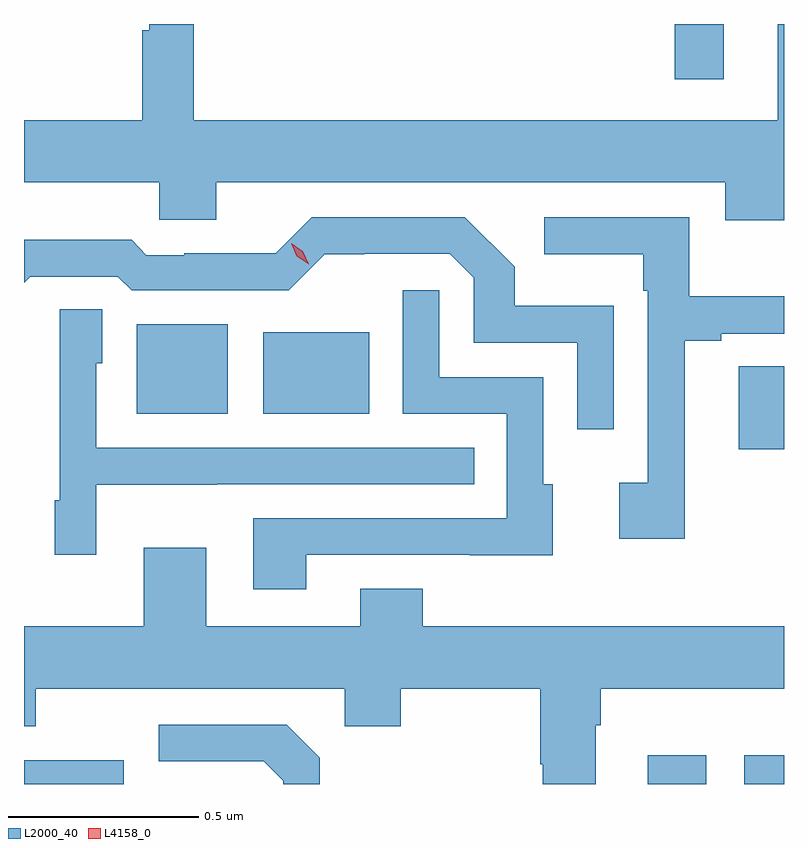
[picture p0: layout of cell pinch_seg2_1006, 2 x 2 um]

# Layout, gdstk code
import gdstk
lib = gdstk.Library(unit=1e-6, precision=1e-09)
def R(c, l, rs):  # rectangles x0, y0, x1, y1
    for r in rs: c.add(gdstk.rectangle(r[:2], r[2:], *l))
def P(c, l, *ps):  # polygons
    for p in ps: c.add(gdstk.Polygon(p, *l))
L2000_40 = (2000, 40)
L4158_0 = (4158, 0)

pinch_seg2_1006 = lib.new_cell('pinch_seg2_1006')
R(pinch_seg2_1006, L2000_40, [(169.682,651.381,169.944,651.444), (171.323,651.381,171.478,651.457), (171.578,651.381,171.682,651.457), (171.563,652.262,171.682,652.481), (169.979,652.355,170.218,652.591), (170.312,652.355,170.59,652.57), (171.395,653.235,171.523,653.381)])
P(pinch_seg2_1006, L2000_40, [(170.038,652.866),(170.188,652.866),(170.188,652.964),(171.527,652.964),(171.527,652.865),(171.682,652.865),(171.682,653.381),(171.665,653.381),(171.665,653.128),(170.129,653.128),(170.129,653.381),(170.012,653.381),(170.012,653.364),(169.993,653.364),(169.993,653.128),(169.682,653.128),(169.682,652.964),(170.038,652.964)],
  [(171.421,652.548),(171.517,652.548),(171.517,652.566),(171.682,652.566),(171.682,652.664),(171.433,652.664),(171.433,652.872),(171.051,652.872),(171.051,652.775),(171.312,652.775),(171.312,652.679),(171.324,652.679),(171.324,652.174),(171.249,652.174),(171.249,652.026),(171.421,652.026)],
  [(171.234,652.639),(170.973,652.639),(170.973,652.742),(170.842,652.872),(170.439,652.872),(170.345,652.778),(170.104,652.778),(170.104,652.773),(170.004,652.773),(169.965,652.813),(169.682,652.813),(169.682,652.7),(169.698,652.716),(169.929,652.716),(169.965,652.68),(170.379,652.68),(170.474,652.775),(170.578,652.775),(170.578,652.776),(170.802,652.776),(170.865,652.713),(170.865,652.542),(171.138,652.542),(171.138,652.314),(171.234,652.314)],
  [(170.425,651.984),(170.855,651.984),(170.855,651.983),(171.073,651.983),(171.073,652.17),(171.048,652.17),(171.048,652.452),(170.775,652.452),(170.775,652.681),(170.679,652.681),(170.679,652.356),(170.952,652.356),(170.952,652.08),(170.285,652.08),(170.285,651.894),(170.425,651.894)],
  [(169.872,652.169),(170.189,652.169),(170.189,652.17),(170.867,652.17),(170.867,652.266),(169.872,652.266),(169.872,652.488),(169.888,652.488),(169.888,652.631),(169.776,652.631),(169.776,652.128),(169.763,652.128),(169.763,651.984),(169.872,651.984)],
  [(169.682,651.533),(169.713,651.533),(169.713,651.632),(170.526,651.632),(170.526,651.533),(170.673,651.533),(170.673,651.632),(171.04,651.632),(171.04,651.433),(171.047,651.433),(171.047,651.381),(171.187,651.381),(171.187,651.536),(171.2,651.536),(171.2,651.632),(171.682,651.632),(171.682,651.796),(170.731,651.796),(170.731,651.895),(170.567,651.895),(170.567,651.796),(170.161,651.796),(170.161,652.003),(169.997,652.003),(169.997,651.796),(169.682,651.796)],
  [(170.46,651.45),(170.373,651.537),(170.037,651.537),(170.037,651.441),(170.313,651.441),(170.364,651.39),(170.364,651.381),(170.46,651.381)])
P(pinch_seg2_1006, L4158_0, [(170.431,652.749),(170.4,652.77),(170.385,652.804),(170.385,652.804),(170.385,652.804),(170.416,652.783),(170.431,652.749),(170.431,652.749)])

lib.write_gds('pinch_seg2_1006.gds')
